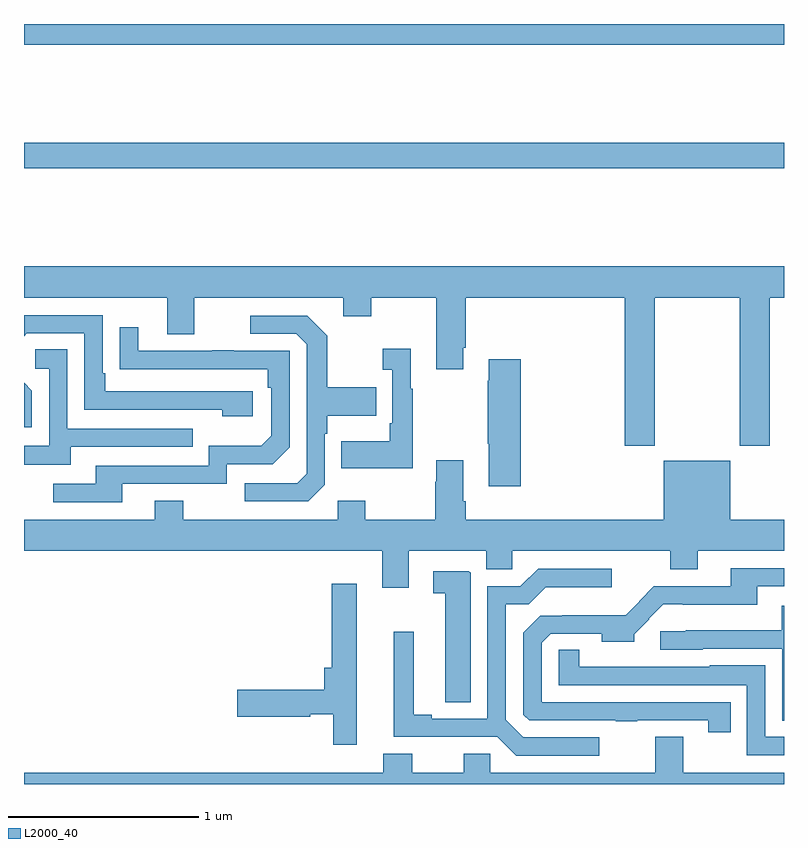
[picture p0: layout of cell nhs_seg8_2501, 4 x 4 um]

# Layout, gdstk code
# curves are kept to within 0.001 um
import gdstk
lib = gdstk.Library(unit=1e-6, precision=1e-09)
def R(c, l, rs):  # rectangles x0, y0, x1, y1
    for r in rs: c.add(gdstk.rectangle(r[:2], r[2:], *l))
def P(c, l, *ps):  # polygons
    for p in ps: c.add(gdstk.Polygon(p, *l))
L2000_40 = (2000, 40)

nhs_seg8_2501 = lib.new_cell('nhs_seg8_2501')
R(nhs_seg8_2501, L2000_40, [(267,1157.14,271,1157.276), (267,1157.792,271,1157.9)])
P(nhs_seg8_2501, L2000_40, [(267,1156.46),(267.755,1156.46),(267.755,1156.266),(267.895,1156.266),(267.895,1156.46),(268.679,1156.46),(268.679,1156.361),(268.827,1156.361),(268.827,1156.46),(269.171,1156.46),(269.171,1156.083),(269.311,1156.083),(269.311,1156.195),(269.324,1156.195),(269.324,1156.46),(270.161,1156.46),(270.161,1155.681),(270.321,1155.681),(270.321,1156.46),(270.766,1156.46),(270.766,1155.681),(270.926,1155.681),(270.926,1156.46),(271,1156.46),(271,1156.624),(267,1156.624)],
  [(268.204,1155.966),(267.427,1155.966),(267.427,1156.063),(267.414,1156.063),(267.414,1156.368),(267,1156.368),(267,1156.257),(267.015,1156.272),(267.318,1156.272),(267.318,1155.87),(268.043,1155.87),(268.043,1155.836),(268.204,1155.836)],
  [(268.584,1155.474),(268.584,1155.743),(268.597,1155.743),(268.597,1155.839),(268.853,1155.839),(268.853,1155.987),(268.597,1155.987),(268.597,1156.259),(268.491,1156.365),(268.191,1156.365),(268.191,1156.269),(268.434,1156.269),(268.488,1156.215),(268.488,1155.534),(268.437,1155.483),(268.161,1155.483),(268.161,1155.387),(268.497,1155.387)],
  [(267.517,1155.48),(268.068,1155.48),(268.068,1155.582),(268.308,1155.582),(268.398,1155.672),(268.398,1156.179),(268.103,1156.179),(268.103,1156.184),(267.991,1156.184),(267.991,1156.179),(267.601,1156.179),(267.601,1156.303),(267.505,1156.303),(267.505,1156.084),(268.282,1156.083),(268.282,1155.986),(268.302,1155.986),(268.302,1155.732),(268.249,1155.679),(267.972,1155.679),(267.972,1155.576),(267.377,1155.576),(267.377,1155.48),(267.153,1155.48),(267.153,1155.384),(267.517,1155.384)],
  [(269.047,1155.979),(269.035,1155.979),(269.035,1156.192),(268.887,1156.192),(268.887,1156.079),(268.938,1156.079),(268.938,1155.799),(268.926,1155.799),(268.926,1155.703),(268.669,1155.703),(268.669,1155.563),(269.047,1155.563)],
  [(267.247,1155.675),(267.887,1155.675),(267.887,1155.771),(267.228,1155.771),(267.228,1156.187),(267.06,1156.187),(267.06,1156.086),(267.132,1156.086),(267.132,1155.681),(267,1155.681),(267,1155.581),(267.247,1155.581)],
  [(269.615,1156.135),(269.447,1156.135),(269.447,1156.022),(269.44,1156.022),(269.44,1155.691),(269.447,1155.691),(269.447,1155.468),(269.615,1155.468)],
  [(267.042,1155.97),(267,1156.012),(267,1155.777),(267.042,1155.777)],
  [(269.026,1155.128),(269.432,1155.128),(269.432,1155.03),(269.571,1155.03),(269.571,1155.128),(270.4,1155.128),(270.4,1155.029),(270.547,1155.029),(270.547,1155.128),(271,1155.128),(271,1155.292),(270.718,1155.292),(270.718,1155.601),(270.368,1155.601),(270.368,1155.292),(269.324,1155.292),(269.324,1155.388),(269.311,1155.388),(269.311,1155.604),(269.171,1155.604),(269.171,1155.491),(269.164,1155.491),(269.164,1155.292),(268.797,1155.292),(268.797,1155.391),(268.65,1155.391),(268.65,1155.292),(267.837,1155.292),(267.837,1155.391),(267.689,1155.391),(267.689,1155.292),(267,1155.292),(267,1155.128),(268.886,1155.128),(268.886,1154.934),(269.026,1154.934)],
  [(270.719,1154.331),(269.724,1154.331),(269.724,1154.643),(269.772,1154.691),(270.041,1154.691),(270.041,1154.648),(270.212,1154.648),(270.212,1154.688),(270.291,1154.766),(270.288,1154.769),(270.365,1154.846),(270.466,1154.846),(270.466,1154.843),(270.859,1154.843),(270.859,1154.94),(271,1154.94),(271,1155.036),(270.719,1155.036),(270.719,1154.94),(270.315,1154.94),(270.239,1154.863),(270.241,1154.861),(270.167,1154.788),(269.833,1154.788),(269.833,1154.786),(269.717,1154.786),(269.628,1154.697),(269.628,1154.265),(269.658,1154.235),(270.115,1154.235),(270.115,1154.23),(270.227,1154.23),(270.227,1154.235),(270.601,1154.235),(270.601,1154.172),(270.719,1154.172)],
  [(270.028,1154.145),(269.628,1154.145),(269.535,1154.238),(269.535,1154.845),(269.656,1154.845),(269.747,1154.936),(270.094,1154.936),(270.094,1155.033),(269.706,1155.033),(269.613,1154.94),(269.439,1154.94),(269.439,1154.244),(269.146,1154.244),(269.146,1154.264),(269.05,1154.264),(269.05,1154.701),(268.946,1154.701),(268.946,1154.148),(269.492,1154.148),(269.591,1154.049),(270.028,1154.049)],
  [(269.35,1155.011),(269.34,1155.021),(269.154,1155.021),(269.154,1154.905),(269.216,1154.905),(269.216,1154.329),(269.35,1154.329)],
  [(268.75,1154.953),(268.619,1154.953),(268.619,1154.512),(268.58,1154.512),(268.58,1154.396),(268.122,1154.396),(268.122,1154.254),(268.506,1154.254),(268.506,1154.266),(268.628,1154.266),(268.628,1154.106),(268.75,1154.106)],
  [(271,1154.839),(270.989,1154.839),(270.989,1154.71),(270.483,1154.71),(270.483,1154.703),(270.348,1154.703),(270.348,1154.607),(270.573,1154.607),(270.573,1154.613),(270.99,1154.613),(270.99,1154.233),(271,1154.233)],
  [(271,1154.148),(270.9,1154.148),(270.9,1154.524),(270.609,1154.524),(270.609,1154.517),(270.177,1154.517),(270.177,1154.518),(269.923,1154.518),(269.923,1154.606),(269.814,1154.606),(269.814,1154.421),(270.804,1154.421),(270.804,1154.052),(271,1154.052)],
  [(271,1153.96),(270.471,1153.96),(270.471,1154.15),(270.323,1154.15),(270.323,1153.96),(269.454,1153.96),(269.454,1154.058),(269.315,1154.058),(269.315,1153.96),(269.044,1153.96),(269.044,1154.059),(268.892,1154.059),(268.892,1153.96),(267,1153.96),(267,1153.9),(271,1153.9)])

lib.write_gds('nhs_seg8_2501.gds')
